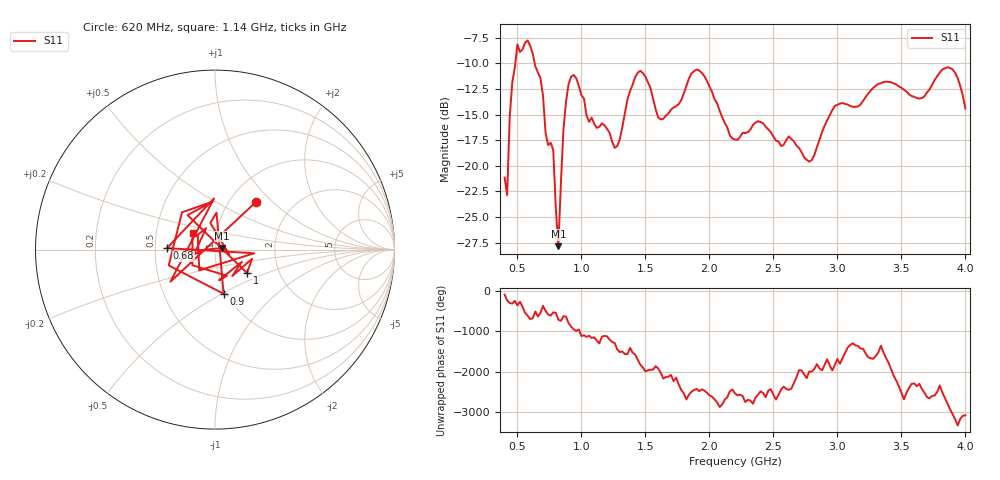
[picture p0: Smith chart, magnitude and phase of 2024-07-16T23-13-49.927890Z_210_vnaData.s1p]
!Created with skrf (http://scikit-rf.org).
# Hz S RI R 50.0
!freq ReS11 ImS11
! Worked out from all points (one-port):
!   181 points, 400 MHz to 4 GHz, reference 50 ohm
!   lowest |S11| = -27.8 dB at 820 MHz (marker M1), VSWR 1.08, Z = 54.1 + j0.939 ohm
!   |S11| at or under -10 dB: start of sweep to 483.6 MHz; 635.3 MHz to end of sweep
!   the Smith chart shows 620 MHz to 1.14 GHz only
!   S11 on the Smith chart (normalised r, x): 620 MHz: 1.32, +0.80; 680 MHz: 0.58, +0.01; 900 MHz: 0.97, -0.51; 1 GHz: 1.37, -0.38; 1.14 GHz: 0.77, +0.14
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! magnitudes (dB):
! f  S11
! 400 MHz  -21.1
! 420 MHz  -22.9
! 440 MHz  -15.2
! 500 MHz  -8.2
! 620 MHz  -9.1
! 680 MHz  -11.4
! 720 MHz  -16.8
! 780 MHz  -18.5
! 820 MHz  -27.8
! 860 MHz  -16.4
! 900 MHz  -12.0
! 1 GHz  -13.1
! 1.14 GHz  -16.2
! 1.3 GHz  -17.4
! 1.46 GHz  -10.7
! 1.6 GHz  -15.3
! 1.76 GHz  -14.0
! 1.92 GHz  -10.7
! 2.2 GHz  -17.4
! 2.38 GHz  -15.6
! 2.66 GHz  -17.6
! 2.78 GHz  -19.6
! 2.98 GHz  -14.2
! 3.1 GHz  -14.2
! 3.36 GHz  -11.8
! 3.56 GHz  -13.0
! 3.86 GHz  -10.4
! 4 GHz  -14.4
